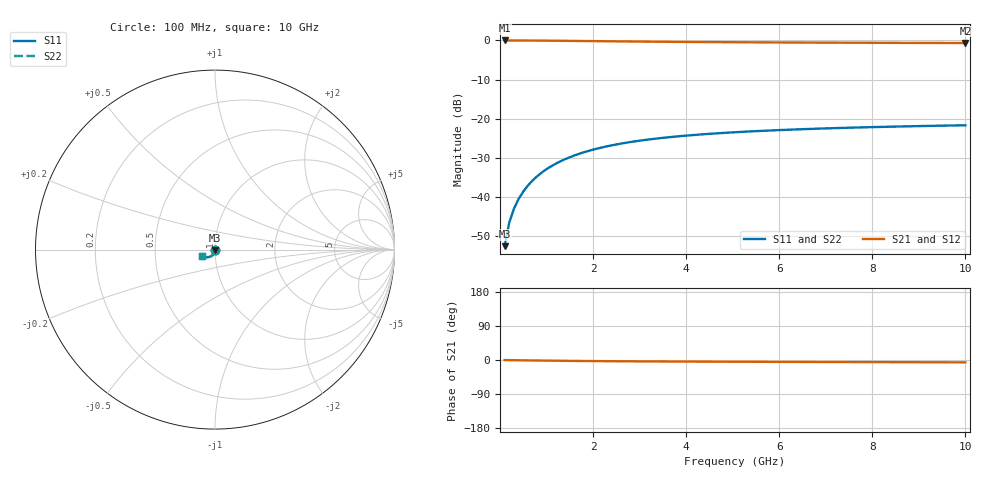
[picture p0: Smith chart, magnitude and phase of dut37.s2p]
! Touchstone file exported from HFSS 2024.1.0
!  File:  C:/UserFiles/LocalFiles/RDL_TSV_Batchsim/temp_TSV1_37_1778764063.aedt
!  Generated:  09:11:46 PM May 14, 2026
!  Design:  TSV1
!  Project:  temp_TSV1_37_1778764063
!  Setup:  Setup1
!  Solution:  Sweep
! Variables:
!  dtsv = 15.56um
!  hbump = 3um
!  htsv = 92.3um
!  lrdl = 252.1521522um
!  p = 40
!  p1 = 47.45um
!  t = 500um
!  trdl = 3um
!  wrdl = 24.89489489um
# GHz S MA R 50.000000
! Terminal data exported
! Port[1] = TSV22_T1
! Port[2] = TSV22_T2
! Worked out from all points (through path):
!   100 points, 100 MHz to 10 GHz, reference 50 ohm
!   highest |S21| = 0.00 dB at 100 MHz (marker M1); lowest = -0.7 dB at 10 GHz (marker M2)
!   lowest |S11| = -52.5 dB at 100 MHz (marker M3), VSWR 1.00, Z = 50 - j0.236 ohm
!   |S11| at or under -10 dB: start of sweep to end of sweep
!   |S22| runs from -52.5 to -21.7 dB; largest |S21 - S12| = 5.5e-15
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0.1  0.002362 -89.6  0.9998 -0.2  0.9998 -0.2  0.002362 -89.6
! Gamma 0 0 0 0
! Port Impedance 50 0 50 0
0.2  0.004727 -92.1  0.9996 -0.4  0.9996 -0.4  0.004727 -92.1
0.3  0.007088 -94.1  0.9992 -0.5  0.9992 -0.5  0.007088 -94.1
0.4  0.009432 -95.9  0.9987 -0.7  0.9987 -0.7  0.009432 -95.9
0.5  0.01175 -97.7  0.9981 -0.9  0.9981 -0.9  0.01175 -97.7
0.6  0.01403 -99.4  0.9974 -1.0  0.9974 -1.0  0.01403 -99.4
0.7  0.01627 -101.1  0.9966 -1.2  0.9966 -1.2  0.01627 -101.1
0.8  0.01847 -102.7  0.9957 -1.4  0.9957 -1.4  0.01847 -102.7
0.9  0.02061 -104.3  0.9947 -1.5  0.9947 -1.5  0.02061 -104.3
1.1  0.02474 -107.4  0.9925 -1.8  0.9925 -1.8  0.02474 -107.4
1.4  0.03049 -111.7  0.9887 -2.2  0.9887 -2.2  0.03049 -111.7
1.6  0.03401 -114.3  0.9861 -2.4  0.9861 -2.4  0.03401 -114.3
1.8  0.03729 -116.8  0.9834 -2.6  0.9834 -2.6  0.03729 -116.8
2.1  0.04177 -120.3  0.9793 -2.9  0.9793 -2.9  0.04177 -120.3
2.5  0.04699 -124.3  0.974 -3.3  0.974 -3.3  0.04699 -124.3
2.9  0.05147 -127.9  0.969 -3.5  0.969 -3.5  0.05147 -127.9
3.4  0.05621 -131.7  0.9634 -3.8  0.9634 -3.8  0.05621 -131.7
4.2  0.06228 -136.6  0.9557 -4.2  0.9557 -4.2  0.06228 -136.6
5.1  0.06755 -140.9  0.9487 -4.6  0.9487 -4.6  0.06755 -140.9
6.7  0.07431 -146.6  0.9393 -5.1  0.9393 -5.1  0.07431 -146.6
8.4  0.07924 -150.8  0.9322 -5.7  0.9322 -5.7  0.07924 -150.8
10  0.08259 -153.8  0.9273 -6.2  0.9273 -6.2  0.08259 -153.8
